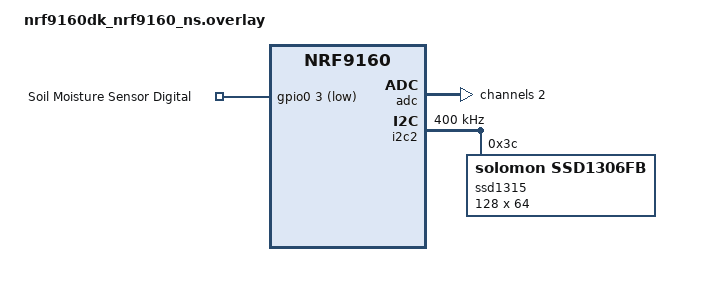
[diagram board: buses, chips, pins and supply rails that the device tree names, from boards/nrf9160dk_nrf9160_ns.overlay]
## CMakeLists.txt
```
cmake_minimum_required(VERSION 3.20.0)
set(SHIELD ssd1306_128x64)
find_package(Zephyr REQUIRED HINTS $ENV{ZEPHYR_BASE})
project(sensortest)

target_sources(app PRIVATE
    src/main.c
    src/display_custom.c
    src/lvgl_utils.c
    src/gpio_adc.c
	src/hbrslogo_bw.c
)


target_include_directories(app PRIVATE
    ${CMAKE_CURRENT_SOURCE_DIR}/include
	)
```

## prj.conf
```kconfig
#CONFIG_LV_Z_MEM_POOL_NUMBER_BLOCKS=8
CONFIG_MAIN_STACK_SIZE=2048
CONFIG_GPIO=y
CONFIG_ADC=y
CONFIG_ADC_NRFX_SAADC=y
CONFIG_LOG=y

CONFIG_SENSOR=y
CONFIG_NEWLIB_LIBC=y
CONFIG_NEWLIB_LIBC_FLOAT_PRINTF=y

CONFIG_LVGL=y
CONFIG_LV_MEM_CUSTOM=y
CONFIG_LV_USE_LOG=y
CONFIG_LV_LOG_LEVEL_INFO=y
CONFIG_LV_USE_LABEL=y
CONFIG_LV_USE_BTN=y
CONFIG_LV_USE_IMG=y
CONFIG_LV_FONT_MONTSERRAT_14=y

CONFIG_LV_COLOR_DEPTH_1=y

CONFIG_DISPLAY=y
CONFIG_I2C=y
CONFIG_I2C_NRFX=y
CONFIG_DISPLAY_LOG_LEVEL_ERR=y
CONFIG_SSD1306=y

# Networking
CONFIG_NETWORKING=y
CONFIG_NET_IPV6=y
CONFIG_NET_IPV4=y
CONFIG_LWM2M_LOG_LEVEL_DBG=y
CONFIG_NET_SOCKETS=y

# LTE
CONFIG_LTE_LINK_CONTROL=y

# LwM2M
CONFIG_LWM2M=y
CONFIG_LWM2M_IPSO_SUPPORT=y
```

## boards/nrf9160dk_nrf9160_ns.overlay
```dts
&adc {
    #address-cells = <1>;
    #size-cells = <0>;
    status = "okay";
    channel@2 {
        reg = <2>;
        zephyr,gain = "ADC_GAIN_1_6";
        zephyr,reference = "ADC_REF_INTERNAL";
        zephyr,acquisition-time = <ADC_ACQ_TIME_DEFAULT>;
        zephyr,input-positive = <NRF_SAADC_AIN2>;
        zephyr,resolution = <12>;
        zephyr,vref-mv = <600>;
    };
};

&i2c2 {
	compatible = "nordic,nrf-twim";
	status = "okay";
	clock-frequency = <I2C_BITRATE_FAST>;
	zephyr,concat-buf-size = <1024>;  // Puffergröße auf 640 Bytes setzen
    zephyr,flash-buf-max-size = <1024>; // Maximalgröße für Flash-Schreibvorgänge
    
  
	ssd1315: ssd1315@3c {
		compatible = "solomon,ssd1306fb";
		reg = <0x3c>;
		width = <128>;
		height = <64>;
		segment-offset = <0>;
		page-offset = <0>;
		display-offset = <0>;
		multiplex-ratio = <63>;
		segment-remap;
		com-invdir;
		prechargep = <0x22>;
	};
};

/ {
	chosen {
		zephyr,display = &ssd1315;
	};

    soil_moisture_sensor {
        compatible = "gpio-keys";
        soil_moisture_gpio: soil_moisture_gpio {
            gpios = <&gpio0 3 GPIO_ACTIVE_LOW>;
            label = "Soil Moisture Sensor Digital";
        };
    };
    
    soil_moisture_adc: soil_moisture_adc {
        compatible = "adc-keys";
        io-channels = <&adc 2>;
        label = "Soil Moisture Sensor Analog";
		keyup-threshold-mv = <600>;  
    };
};
```

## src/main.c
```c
#include <zephyr/kernel.h>
#include <zephyr/logging/log.h>
#include <stdio.h>
#include "display_custom.h"
#include "lvgl_utils.h"
#include "gpio_adc.h"
#include <zephyr/net/lwm2m.h>


LOG_MODULE_REGISTER(sensortest, LOG_LEVEL_INF);

static double analog_sensor_value = 0.0;
static int32_t digital_sensor_value = 0;

static void *read_analog_cb(uint16_t obj_inst_id, uint16_t res_id, uint16_t res_inst_id, size_t *data_len)
{
    *data_len = sizeof(double);
    return &analog_sensor_value;
}

static void *read_digital_cb(uint16_t obj_inst_id, uint16_t res_id, uint16_t res_inst_id, size_t *data_len)
{
    *data_len = sizeof(int32_t);
    return &digital_sensor_value;
}

static int init_lwm2m_resources(void)
{
    int err;

    // Generic sensor object for analog value
    err = lwm2m_engine_create_obj_inst("3300/0");
    if (err) {
        LOG_ERR("Failed to create generic sensor object: %d", err);
        return err;
    }

    err = lwm2m_engine_register_read_callback("3300/0/5700", read_analog_cb);
    if (err) {
        LOG_ERR("Failed to register analog read callback: %d", err);
        return err;
    }

    // Humidity sensor object for digital value
    err = lwm2m_engine_create_obj_inst("3304/0");
    if (err) {
        LOG_ERR("Failed to create humidity sensor object: %d", err);
        return err;
    }

    err = lwm2m_engine_register_read_callback("3304/0/5700", read_digital_cb);
    if (err) {
        LOG_ERR("Failed to register digital read callback: %d", err);
        return err;
    }

    return 0;
}

int main(void)
{
    int32_t adc_value;
    char display_text[64];

    if (init_display() < 0) {
        return -1;
    }

    init_lvgl();

    lv_obj_t *label = create_label("Initializing...");

    lv_task_handler();
    lv_refr_now(NULL); 

    if (init_gpio() < 0 || init_adc() < 0) {
        return -1;
    }

    if (init_lwm2m_resources() < 0) {
        LOG_ERR("Failed to initialize LwM2M resources");
        return -1;
    }

    int err = lwm2m_init();
    if (err) {
        LOG_ERR("Failed to initialize LwM2M: %d", err);
        return -1;
    }

    k_sleep(K_SECONDS(5));

    show_logo();
    lv_task_handler();

    while (1) {
        int digital_val = read_gpio();
        adc_value = read_adc();

        if (adc_value >= 0) {
            snprintf(display_text, sizeof(display_text),
                     "Digital: %s\nAnalog: %d mV",
                     digital_val == 0 ? "Moist" : "Dry",
                     adc_value);
            update_label(label, display_text);

            // Aktualisieren Sie die LwM2M-Sensorwerte
            analog_sensor_value = (double)adc_value;
            lwm2m_engine_set_float("3300/0/5700", &analog_sensor_value);

            digital_sensor_value = digital_val == 0 ? 100 : 0; // 100% für feucht, 0% für trocken
            lwm2m_engine_set_int32("3304/0/5700", digital_sensor_value);

            // Führen Sie LwM2M-Aufgaben aus
            lwm2m_engine_step();

            lv_task_handler();
            lv_refr_now(NULL); 
        } else {
            LOG_ERR("Error reading sensor values");
        }

        k_sleep(K_SECONDS(5));
    }

    return 0;
}
```

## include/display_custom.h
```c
#ifndef DISPLAY_CUSTOM_H
#define DISPLAY_CUSTOM_H

#include <zephyr/device.h>  // Für Zephyr-spezifische Funktionen
#include <zephyr/drivers/display.h>  // Für Display-Treiber

int init_display(void);

#endif
```

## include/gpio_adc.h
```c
#ifndef GPIO_ADC_H
#define GPIO_ADC_H

#include <stdint.h> 

int init_gpio(void);
int read_gpio(void);
int init_adc(void);
int32_t read_adc(void);

#endif
```

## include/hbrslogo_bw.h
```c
#ifndef HBRSLOGO_BW_H
#define HBRSLOGO_BW_H

#ifdef __has_include
    #if __has_include("lvgl.h")
        #ifndef LV_LVGL_H_INCLUDE_SIMPLE
            #define LV_LVGL_H_INCLUDE_SIMPLE
        #endif
    #endif
#endif

#if defined(LV_LVGL_H_INCLUDE_SIMPLE)
    #include "lvgl.h"
#else
    #include "lvgl/lvgl.h"
#endif

#ifndef LV_ATTRIBUTE_MEM_ALIGN
#define LV_ATTRIBUTE_MEM_ALIGN
#endif

#ifndef LV_ATTRIBUTE_IMG_HBRSLOGO_BW
#define LV_ATTRIBUTE_IMG_HBRSLOGO_BW
#endif

extern const LV_ATTRIBUTE_MEM_ALIGN LV_ATTRIBUTE_LARGE_CONST LV_ATTRIBUTE_IMG_HBRSLOGO_BW uint8_t hbrslogo_bw_map[];
extern const lv_img_dsc_t hbrslogo_bw;

#endif // HBRSLOGO_BW_H
```

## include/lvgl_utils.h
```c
#ifndef LVGL_UTILS_H
#define LVGL_UTILS_H

#include <lvgl.h>

// Initialisiert LVGL
void init_lvgl(void);

// Erstellt ein Label mit Initialtext
lv_obj_t *create_label(const char *initial_text);

// Aktualisiert den Text eines Labels
void update_label(lv_obj_t *label, const char *new_text);


void show_logo(void);

#endif // LVGL_UTILS_H
```

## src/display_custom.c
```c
#include "display_custom.h"
#include <zephyr/device.h>
#include <zephyr/logging/log.h>
#include <zephyr/drivers/display.h>

LOG_MODULE_REGISTER(display, LOG_LEVEL_INF);

static const struct device *display_dev;

int init_display(void) {
    display_dev = DEVICE_DT_GET(DT_CHOSEN(zephyr_display));
    if (!device_is_ready(display_dev)) {
        LOG_ERR("Display not ready");
        return !device_is_ready(display_dev);
    }
    display_blanking_off(display_dev);
    return 0;
}
```

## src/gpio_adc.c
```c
#include "gpio_adc.h"
#include <zephyr/drivers/gpio.h>
#include <zephyr/drivers/adc.h>
#include <zephyr/logging/log.h>

LOG_MODULE_REGISTER(gpio_adc, LOG_LEVEL_INF);

static const struct gpio_dt_spec soil_moisture_gpio = GPIO_DT_SPEC_GET(DT_NODELABEL(soil_moisture_gpio), gpios);
static const struct adc_dt_spec soil_moisture_adc = ADC_DT_SPEC_GET(DT_NODELABEL(soil_moisture_adc));
static int16_t sample_buffer[1];

struct adc_sequence sequence = {
    .buffer = sample_buffer,
    .buffer_size = sizeof(sample_buffer),
};

int init_gpio(void) {
    if (!device_is_ready(soil_moisture_gpio.port)) {
        LOG_ERR("Error: Soil moisture GPIO device is not ready");
        return !device_is_ready(soil_moisture_gpio.port);
    }

    int ret = gpio_pin_configure_dt(&soil_moisture_gpio, GPIO_INPUT);
    if (ret != 0) {
        LOG_ERR("Error: failed to configure GPIO");
        return ret;
    }

    return 0;
}

int read_gpio(void) {
    return gpio_pin_get_dt(&soil_moisture_gpio);
}

int init_adc(void) {
    if (!adc_is_ready_dt(&soil_moisture_adc)) {
        LOG_ERR("Error: ADC device is not ready");
        return !adc_is_ready_dt(&soil_moisture_adc);
    }

    LOG_INF("ADC Device: %s", soil_moisture_adc.dev->name);
    LOG_INF("Channel ID: %d", soil_moisture_adc.channel_id);
    LOG_INF("Resolution: %d", soil_moisture_adc.resolution);
    LOG_INF("Oversampling: %d", soil_moisture_adc.oversampling);
    LOG_INF("Vref (mV): %d", soil_moisture_adc.vref_mv);

    int ret = adc_channel_setup_dt(&soil_moisture_adc);
    if (ret != 0) {
        LOG_ERR("Error: failed to setup ADC channel, error code: %d", ret);
        return ret;
    }

    return 0;
}

int32_t read_adc(void) {
    int ret = adc_sequence_init_dt(&soil_moisture_adc, &sequence);
    if (ret != 0) {
        LOG_ERR("Error: failed to initialize ADC sequence");
        return -1;
    }

    ret = adc_read(soil_moisture_adc.dev, &sequence);
    if (ret != 0) {
        LOG_ERR("Error reading ADC");
        return -1;
    }

    int32_t adc_value = sample_buffer[0];
    int32_t millivolts = 0;

    ret = adc_raw_to_millivolts(600, ADC_GAIN_1_6, 12, &millivolts);
    if (ret == 0) {
        LOG_INF("Converted value: %d mV", millivolts);
    } else {
        LOG_ERR("Conversion failed with error: %d", ret);
    }

    int32_t reference_mv = adc_ref_internal(soil_moisture_adc.dev);
    int32_t millivolts_man = (adc_value * reference_mv) / (1 << soil_moisture_adc.resolution);

    LOG_INF("Analog raw: %d, Converted: %d mV (Manual conversion: %d mV)",
        adc_value, millivolts, millivolts_man);

    int32_t reference_miv = 600; // Interne Referenzspannung (0,6V) in mV
    int32_t gain_factor = 6;    // Für ADC_GAIN_1_6 (anpassen, falls geändert)
    int32_t millivolts_manual = (adc_value * reference_miv * gain_factor) / (1 << soil_moisture_adc.resolution);
    LOG_INF("Manually calculated voltage: %d mV", millivolts_manual);

    LOG_INF("INTERNE: %d", adc_ref_internal(soil_moisture_adc.dev));

    return millivolts_manual;
}
```

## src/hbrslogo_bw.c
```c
#include "hbrslogo_bw.h"

const LV_ATTRIBUTE_MEM_ALIGN LV_ATTRIBUTE_LARGE_CONST LV_ATTRIBUTE_IMG_HBRSLOGO_BW uint8_t hbrslogo_bw_map[] = {
  0xff, 0xff, 0xff, 0xff, 	/*Color of index 0*/
  0x00, 0x00, 0x00, 0xff, 	/*Color of index 1*/

  0x00, 0x00, 0x00, 0x00, 0x00, 0x00, 0x00, 0x00, 0x00, 0x00, 0x00, 0x00, 0x00, 0x00, 0x00, 0x00, 
  0x00, 0x00, 0x00, 0xfe, 0x00, 0x00, 0x00, 0x00, 0x00, 0x00, 0x00, 0x01, 0xff, 0xe0, 0x00, 0x00, 
  0x00, 0x00, 0x0f, 0xff, 0xe0, 0x00, 0x00, 0x00, 0x00, 0x00, 0x00, 0x0f, 0xff, 0xfc, 0x00, 0x00, 
  0x00, 0x00, 0x3f, 0xff, 0xfc, 0x00, 0x00, 0x00, 0x00, 0x00, 0x00, 0x3f, 0xff, 0xff, 0x00, 0x00, 
  0x00, 0x00, 0xff, 0xff, 0xfe, 0x00, 0x00, 0x00, 0x00, 0x00, 0x00, 0xff, 0xff, 0xff, 0xc0, 0x00, 
  0x00, 0x03, 0xff, 0xff, 0xff, 0x80, 0x00, 0x00, 0x00, 0x00, 0x01, 0xff, 0xff, 0xff, 0xe0, 0x00, 
  0x00, 0x07, 0xff, 0xff, 0xff, 0xc0, 0x00, 0x00, 0x00, 0x00, 0x07, 0xff, 0xff, 0xff, 0xf0, 0x00, 
  0x00, 0x0f, 0xff, 0xff, 0xff, 0xf0, 0x00, 0x00, 0x00, 0x00, 0x0f, 0xff, 0xff, 0xff, 0xfc, 0x00, 
  0x00, 0x3f, 0xff, 0xff, 0xff, 0xf8, 0x00, 0x00, 0x00, 0x00, 0x1f, 0xff, 0xff, 0xff, 0xfe, 0x00, 
  0x00, 0x7f, 0xff, 0xff, 0xff, 0xfc, 0x00, 0x00, 0x00, 0x00, 0x3f, 0xff, 0xff, 0xff, 0xff, 0x00, 
  0x00, 0x7f, 0xff, 0xff, 0xff, 0xfe, 0x00, 0x00, 0x00, 0x00, 0x7f, 0xff, 0xff, 0xff, 0xff, 0x00, 
  0x00, 0xff, 0xff, 0xff, 0xff, 0xfe, 0x00, 0x00, 0x00, 0x00, 0x7f, 0xff, 0xff, 0xff, 0xff, 0x80, 
  0x01, 0xff, 0xff, 0xff, 0xff, 0xff, 0x00, 0x00, 0x00, 0x00, 0xff, 0xff, 0xff, 0xff, 0xff, 0xc0, 
  0x03, 0xff, 0xff, 0xff, 0xff, 0xff, 0x80, 0x00, 0x00, 0x01, 0xff, 0xff, 0xff, 0xff, 0xff, 0xe0, 
  0x03, 0xff, 0xff, 0x01, 0xff, 0xff, 0x80, 0x00, 0x00, 0x01, 0xff, 0xff, 0xff, 0xff, 0xff, 0xe0, 
  0x07, 0xff, 0xf8, 0x00, 0x3f, 0xff, 0xc0, 0x00, 0x00, 0x03, 0xff, 0xff, 0xff, 0xff, 0xff, 0xf0, 
  0x07, 0xff, 0xf0, 0x00, 0x0f, 0xff, 0xe0, 0x00, 0x00, 0x07, 0xff, 0xff, 0xff, 0xff, 0xff, 0xf0, 
  0x0f, 0xff, 0xe0, 0x00, 0x07, 0xff, 0xe0, 0x00, 0x00, 0x07, 0xff, 0xff, 0xff, 0xff, 0xff, 0xf8, 
  0x0f, 0xff, 0x80, 0x00, 0x03, 0xff, 0xe0, 0x00, 0x00, 0x07, 0xff, 0xff, 0xff, 0xff, 0xff, 0xf8, 
  0x1f, 0xff, 0x80, 0x00, 0x01, 0xff, 0xf0, 0x00, 0x00, 0x0f, 0xff, 0xff, 0xff, 0xff, 0xff, 0xfc, 
  0x1f, 0xff, 0x00, 0x00, 0x00, 0xff, 0xf0, 0x00, 0x00, 0x0f, 0xff, 0xff, 0xff, 0xff, 0xff, 0xfc, 
  0x1f, 0xfe, 0x00, 0x00, 0x00, 0xff, 0xf8, 0x00, 0x00, 0x0f, 0xff, 0xff, 0xff, 0xff, 0xff, 0xfc, 
  0x3f, 0xfe, 0x00, 0x00, 0x00, 0x7f, 0xf8, 0x00, 0x00, 0x1f, 0xff, 0xff, 0xff, 0xff, 0xff, 0xfe, 
  0x3f, 0xfc, 0x00, 0x00, 0x00, 0x7f, 0xf8, 0x00, 0x00, 0x1f, 0xff, 0xff, 0xff, 0xff, 0xff, 0xfe, 
  0x3f, 0xfc, 0x00, 0x00, 0x00, 0x3f, 0xf8, 0x00, 0x00, 0x1f, 0xff, 0xff, 0xff, 0xff, 0xff, 0xfe, 
  0x3f, 0xf8, 0x00, 0x00, 0x00, 0x3f, 0xfc, 0x00, 0x00, 0x1f, 0xff, 0xff, 0xff, 0xff, 0xff, 0xfe, 
  0x7f, 0xf8, 0x00, 0x00, 0x00, 0x3f, 0xfc, 0x00, 0x00, 0x3f, 0xff, 0xff, 0xff, 0xff, 0xff, 0xfe, 
  0x7f, 0xf8, 0x00, 0x00, 0x00, 0x1f, 0xfc, 0x00, 0x00, 0x3f, 0xff, 0xff, 0xff, 0xff, 0xff, 0xfe, 
  0x7f, 0xf8, 0x00, 0x00, 0x00, 0x1f, 0xfc, 0x00, 0x00, 0x3f, 0xff, 0xff, 0xff, 0xff, 0xff, 0xff, 
  0x7f, 0xf8, 0x00, 0x00, 0x00, 0x1f, 0xfc, 0x00, 0x00, 0x3f, 0xff, 0xff, 0xff, 0xff, 0xff, 0xff, 
  0x7f, 0xf0, 0x00, 0x00, 0x00, 0x1f, 0xfc, 0x00, 0x00, 0x3f, 0xff, 0xff, 0xff, 0xff, 0xff, 0xff, 
  0x7f, 0xf0, 0x00, 0x00, 0x00, 0x1f, 0xfc, 0x00, 0x00, 0x3f, 0xff, 0xff, 0xff, 0xff, 0xff, 0xff, 
  0x7f, 0xf0, 0x00, 0x00, 0x00, 0x1f, 0xfc, 0x00, 0x00, 0x3f, 0xff, 0xff, 0xff, 0xff, 0xff, 0xff, 
  0x7f, 0xf8, 0x00, 0x00, 0x00, 0x1f, 0xfc, 0x00, 0x00, 0x3f, 0xff, 0xff, 0xff, 0xff, 0xff, 0xff, 
  0x7f, 0xf8, 0x00, 0x00, 0x00, 0x1f, 0xfc, 0x00, 0x00, 0x3f, 0xff, 0xff, 0xff, 0xff, 0xff, 0xff, 
  0x7f, 0xf8, 0x00, 0x00, 0x00, 0x1f, 0xfc, 0x00, 0x00, 0x3f, 0xff, 0xff, 0xff, 0xff, 0xff, 0xfe, 
  0x7f, 0xf8, 0x00, 0x00, 0x00, 0x3f, 0xfc, 0x00, 0x00, 0x3f, 0xff, 0xff, 0xff, 0xff, 0xff, 0xfe, 
  0x7f, 0xf8, 0x00, 0x00, 0x00, 0x3f, 0xfc, 0x00, 0x00, 0x1f, 0xff, 0xff, 0xff, 0xff, 0xff, 0xfe, 
  0x3f, 0xfc, 0x00, 0x00, 0x00, 0x3f, 0xfc, 0x00, 0x00, 0x1f, 0xff, 0xff, 0xff, 0xff, 0xff, 0xfe, 
  0x3f, 0xfc, 0x00, 0x00, 0x00, 0x7f, 0xf8, 0x00, 0x00, 0x1f, 0xff, 0xff, 0xff, 0xff, 0xff, 0xfe, 
  0x3f, 0xfc, 0x00, 0x00, 0x00, 0x7f, 0xf8, 0x00, 0x00, 0x1f, 0xff, 0xff, 0xff, 0xff, 0xff, 0xfe, 
  0x3f, 0xfe, 0x00, 0x00, 0x00, 0xff, 0xf8, 0x00, 0x00, 0x1f, 0xff, 0xff, 0xff, 0xff, 0xff, 0xfc, 
  0x1f, 0xff, 0x00, 0x00, 0x00, 0xff, 0xf8, 0x00, 0x00, 0x0f, 0xff, 0xff, 0xff, 0xff, 0xff, 0xfc, 
  0x1f, 0xff, 0x00, 0x00, 0x01, 0xff, 0xf0, 0x00, 0x00, 0x0f, 0xff, 0xff, 0xff, 0xff, 0xff, 0xfc, 
  0x1f, 0xff, 0x80, 0x00, 0x03, 0xff, 0xf0, 0x00, 0x00, 0x0f, 0xff, 0xff, 0xff, 0xff, 0xff, 0xf8, 
  0x0f, 0xff, 0xc0, 0x00, 0x07, 0xff, 0xe0, 0x00, 0x00, 0x07, 0xff, 0xff, 0xff, 0xff, 0xff, 0xf8, 
  0x0f, 0xff, 0xe0, 0x00, 0x0f, 0xff, 0xe0, 0x00, 0x00, 0x07, 0xff, 0xff, 0xff, 0xff, 0xff, 0xf0, 
  0x07, 0xff, 0xf8, 0x00, 0x3f, 0xff, 0xc0, 0x00, 0x00, 0x03, 0xff, 0xff, 0xff, 0xff, 0xff, 0xf0, 
  0x07, 0xff, 0xfe, 0x00, 0xff, 0xff, 0xc0, 0x00, 0x00, 0x03, 0xff, 0xff, 0xff, 0xff, 0xff, 0xe0, 
  0x03, 0xff, 0xff, 0xff, 0xff, 0xff, 0x80, 0x00, 0x00, 0x01, 0xff, 0xff, 0xff, 0xff, 0xff, 0xe0, 
  0x03, 0xff, 0xff, 0xff, 0xff, 0xff, 0x80, 0x00, 0x00, 0x00, 0xff, 0xff, 0xff, 0xff, 0xff, 0xc0, 
  0x01, 0xff, 0xff, 0xff, 0xff, 0xff, 0x00, 0x00, 0x00, 0x00, 0xff, 0xff, 0xff, 0xff, 0xff, 0x80, 
  0x00, 0xff, 0xff, 0xff, 0xff, 0xfe, 0x00, 0x00, 0x00, 0x00, 0x7f, 0xff, 0xff, 0xff, 0xff, 0x80, 
  0x00, 0x7f, 0xff, 0xff, 0xff, 0xfc, 0x00, 0x00, 0x00, 0x00, 0x3f, 0xff, 0xff, 0xff, 0xff, 0x00, 
  0x00, 0x3f, 0xff, 0xff, 0xff, 0xf8, 0x00, 0x00, 0x00, 0x00, 0x1f, 0xff, 0xff, 0xff, 0xfe, 0x00, 
  0x00, 0x1f, 0xff, 0xff, 0xff, 0xf8, 0x00, 0x00, 0x00, 0x00, 0x0f, 0xff, 0xff, 0xff, 0xfc, 0x00, 
  0x00, 0x0f, 0xff, 0xff, 0xff, 0xe0, 0x00, 0x00, 0x00, 0x00, 0x07, 0xff, 0xff, 0xff, 0xf8, 0x00, 
  0x00, 0x07, 0xff, 0xff, 0xff, 0xc0, 0x00, 0x00, 0x00, 0x00, 0x03, 0xff, 0xff, 0xff, 0xe0, 0x00, 
  0x00, 0x03, 0xff, 0xff, 0xff, 0x80, 0x00, 0x00, 0x00, 0x00, 0x00, 0xff, 0xff, 0xff, 0xc0, 0x00, 
  0x00, 0x00, 0xff, 0xff, 0xfe, 0x00, 0x00, 0x00, 0x00, 0x00, 0x00, 0x7f, 0xff, 0xff, 0x00, 0x00, 
  0x00, 0x00, 0x3f, 0xff, 0xf8, 0x00, 0x00, 0x00, 0x00, 0x00, 0x00, 0x1f, 0xff, 0xfc, 0x00, 0x00, 
  0x00, 0x00, 0x07, 0xff, 0xe0, 0x00, 0x00, 0x00, 0x00, 0x00, 0x00, 0x03, 0xff, 0xf0, 0x00, 0x00, 
  0x00, 0x00, 0x00, 0x00, 0x00, 0x00, 0x00, 0x00, 0x00, 0x00, 0x00, 0x00, 0x00, 0x00, 0x00, 0x00, 
  0x00, 0x00, 0x00, 0x00, 0x00, 0x00, 0x00, 0x00, 0x00, 0x00, 0x00, 0x00, 0x00, 0x00, 0x00, 0x00, 
};

const lv_img_dsc_t hbrslogo_bw = {
  .header.cf = LV_IMG_CF_INDEXED_1BIT,
  .header.always_zero = 0,
  .header.reserved = 0,
  .header.w = 128,
  .header.h = 64,
  .data_size = 1032,
  .data = hbrslogo_bw_map,
};
```

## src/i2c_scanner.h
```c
#ifndef I2C_SCANNER_H
#define I2C_SCANNER_H

void i2c_scan(void);

#endif // I2C_SCANNER_H
```

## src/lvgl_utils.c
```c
#include "lvgl_utils.h"
#include <lvgl.h>
#include "hbrslogo_bw.h"
#include <zephyr/kernel.h>

void init_lvgl(void) {
    lv_init();
}

lv_obj_t *create_label(const char *initial_text) {
    lv_obj_t *label = lv_label_create(lv_scr_act());
    lv_obj_align(label, LV_ALIGN_CENTER, 0, 0);
    lv_label_set_text(label, initial_text);
    return label;
}

void update_label(lv_obj_t *label, const char *new_text) {
    lv_label_set_text(label, new_text);
}

void show_logo(void) {
    lv_obj_t *img = lv_img_create(lv_scr_act());
    lv_img_set_src(img, &hbrslogo_bw);
    lv_obj_align(img, LV_ALIGN_CENTER, 0, 0);

    // Display sofort aktualisieren
    lv_task_handler();
    lv_refr_now(NULL);

    // Pause, um das Logo sichtbar zu halten
    k_sleep(K_SECONDS(5));

    // Logo entfernen
    lv_obj_del(img);

    // Änderungen verarbeiten, nachdem das Logo entfernt wurde
    lv_task_handler();
}
```
